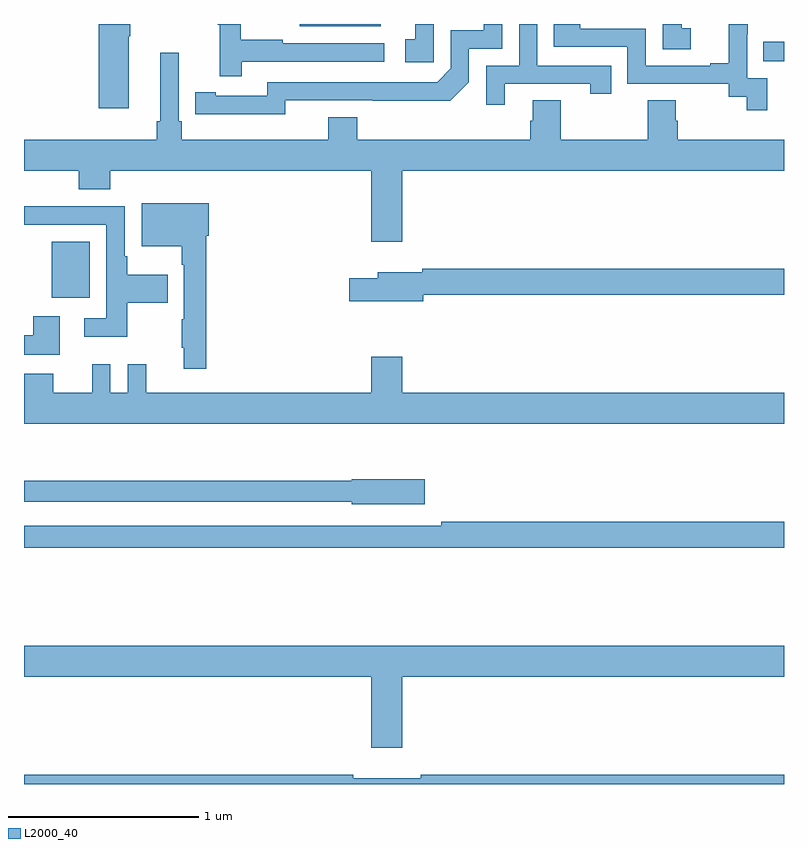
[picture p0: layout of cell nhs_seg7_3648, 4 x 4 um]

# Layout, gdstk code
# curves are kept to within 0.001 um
import gdstk
lib = gdstk.Library(unit=1e-6, precision=1e-09)
def R(c, l, rs):  # rectangles x0, y0, x1, y1
    for r in rs: c.add(gdstk.rectangle(r[:2], r[2:], *l))
def P(c, l, *ps):  # polygons
    for p in ps: c.add(gdstk.Polygon(p, *l))
L2000_40 = (2000, 40)

nhs_seg7_3648 = lib.new_cell('nhs_seg7_3648')
R(nhs_seg7_3648, L2000_40, [(343.145,1054.559,343.345,1054.855), (346.891,1055.805,347,1055.906), (344.451,1055.987,344.878,1056)])
P(nhs_seg7_3648, L2000_40, [(344.147,1055.802),(344.896,1055.802),(344.896,1055.898),(344.363,1055.898),(344.363,1055.918),(344.14,1055.918),(344.14,1056),(344.019,1056),(344.019,1055.995),(344.03,1055.995),(344.03,1055.724),(344.147,1055.724)],
  [(346.51,1055.977),(346.461,1055.977),(346.461,1056),(346.362,1056),(346.362,1055.868),(346.51,1055.868)],
  [(345.529,1055.685),(345.98,1055.685),(345.98,1055.634),(346.091,1055.634),(346.091,1055.781),(345.702,1055.781),(345.702,1056),(345.606,1056),(345.606,1055.781),(345.432,1055.781),(345.432,1055.574),(345.529,1055.574)],
  [(346.911,1055.715),(346.806,1055.715),(346.806,1055.945),(346.808,1055.945),(346.808,1056),(346.709,1056),(346.709,1055.794),(346.613,1055.794),(346.613,1055.781),(346.272,1055.781),(346.272,1055.976),(345.927,1055.976),(345.927,1056),(345.787,1056),(345.787,1055.88),(346.176,1055.88),(346.176,1055.685),(346.71,1055.685),(346.71,1055.617),(346.803,1055.617),(346.803,1055.547),(346.911,1055.547)],
  [(345.156,1056),(345.059,1056),(345.059,1055.919),(345.006,1055.919),(345.006,1055.799),(345.156,1055.799)],
  [(344.376,1055.598),(345.244,1055.597),(345.342,1055.694),(345.342,1055.871),(345.516,1055.871),(345.516,1056),(345.419,1056),(345.419,1055.967),(345.246,1055.967),(345.246,1055.766),(345.174,1055.694),(344.28,1055.694),(344.28,1055.622),(344.008,1055.622),(344.008,1055.642),(343.9,1055.642),(343.9,1055.526),(344.376,1055.525)],
  [(343.552,1055.935),(343.56,1055.935),(343.56,1056),(343.394,1056),(343.394,1055.556),(343.552,1055.556)],
  [(346.282,1055.6),(346.282,1055.392),(345.825,1055.392),(345.825,1055.6),(345.677,1055.6),(345.677,1055.49),(345.665,1055.49),(345.665,1055.392),(344.753,1055.392),(344.753,1055.509),(344.6,1055.509),(344.6,1055.392),(343.829,1055.392),(343.829,1055.488),(343.815,1055.488),(343.815,1055.848),(343.718,1055.848),(343.718,1055.488),(343.699,1055.488),(343.699,1055.392),(343,1055.392),(343,1055.228),(343.289,1055.228),(343.289,1055.129),(343.454,1055.129),(343.454,1055.228),(344.828,1055.228),(344.828,1054.854),(344.992,1054.854),(344.992,1055.228),(347,1055.228),(347,1055.392),(346.442,1055.392),(346.442,1055.49),(346.429,1055.49),(346.429,1055.6)],
  [(343.958,1054.886),(343.972,1054.886),(343.972,1055.056),(343.619,1055.056),(343.619,1054.829),(343.83,1054.829),(343.83,1054.733),(343.842,1054.733),(343.842,1054.445),(343.83,1054.445),(343.83,1054.297),(343.841,1054.297),(343.841,1054.185),(343.958,1054.185)],
  [(343.543,1054.534),(343.757,1054.534),(343.757,1054.681),(343.543,1054.681),(343.543,1054.777),(343.53,1054.777),(343.53,1055.04),(343.205,1055.04),(343.205,1055.042),(343,1055.042),(343,1054.944),(343.434,1054.944),(343.434,1054.452),(343.317,1054.452),(343.317,1054.355),(343.543,1054.355)],
  [(345.1,1054.576),(347,1054.576),(347,1054.712),(345.096,1054.712),(345.096,1054.693),(344.861,1054.693),(344.861,1054.663),(344.712,1054.663),(344.712,1054.541),(345.1,1054.541)],
  [(343.189,1054.462),(343.049,1054.462),(343.049,1054.363),(343,1054.363),(343,1054.259),(343.189,1054.259)],
  [(347,1054.06),(344.992,1054.06),(344.992,1054.249),(344.828,1054.249),(344.828,1054.06),(343.643,1054.06),(343.643,1054.21),(343.545,1054.21),(343.545,1054.06),(343.455,1054.06),(343.455,1054.21),(343.358,1054.21),(343.358,1054.06),(343.153,1054.06),(343.153,1054.159),(343,1054.159),(343,1053.896),(347,1053.896)],
  [(345.109,1053.603),(344.724,1053.603),(344.724,1053.595),(343,1053.595),(343,1053.486),(344.724,1053.486),(344.724,1053.473),(345.109,1053.473)],
  [(347,1053.38),(345.196,1053.38),(345.196,1053.36),(343,1053.36),(343,1053.244),(347,1053.244)],
  [(344.992,1052.564),(347,1052.564),(347,1052.728),(343,1052.728),(343,1052.564),(344.828,1052.564),(344.828,1052.19),(344.992,1052.19)],
  [(347,1052.048),(345.088,1052.048),(345.088,1052.029),(344.732,1052.029),(344.732,1052.048),(343,1052.048),(343,1052),(347,1052)])

lib.write_gds('nhs_seg7_3648.gds')
